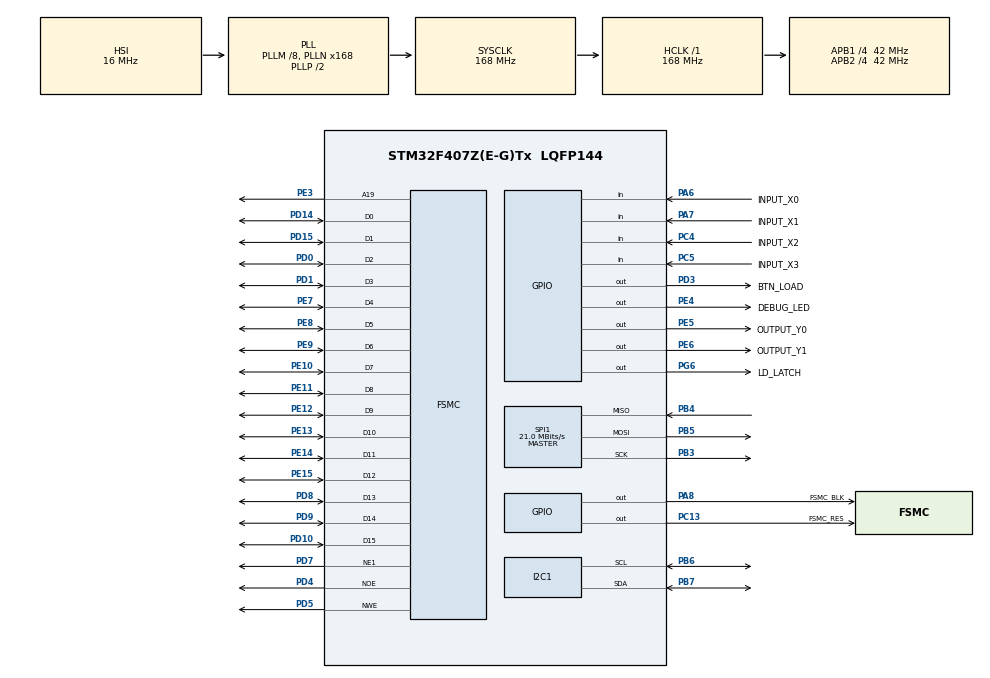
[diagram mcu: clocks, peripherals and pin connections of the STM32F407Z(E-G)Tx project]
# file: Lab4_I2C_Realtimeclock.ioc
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FSMC.AddressSetupTime1=0xf
FSMC.BusTurnAroundDuration1=0
FSMC.DataSetupTime1=60
FSMC.ExtendedAddressSetupTime1=8
FSMC.ExtendedBusTurnAroundDuration1=0
FSMC.ExtendedDataSetupTime1=9
FSMC.ExtendedMode1=FSMC_EXTENDED_MODE_ENABLE
I2C1.I2C_Mode=I2C_Standard
Mcu.Family=STM32F4
Mcu.Name=STM32F407Z(E-G)Tx
Mcu.Package=LQFP144
NVIC.PriorityGroup=NVIC_PRIORITYGROUP_4
NVIC.TIM2_IRQn=true\:0\:0\:false\:false\:true\:true\:true\:true
PA13.Mode=Serial_Wire
PA13.Signal=SYS_JTMS-SWDIO
PA14.Mode=Serial_Wire
PA14.Signal=SYS_JTCK-SWCLK
PA6.GPIO_Label=INPUT_X0
PA6.Signal=GPIO_Input
PA7.GPIO_Label=INPUT_X1
PA7.Signal=GPIO_Input
PA8.GPIO_Label=FSMC_BLK
PA8.Signal=GPIO_Output
PB3.Mode=Full_Duplex_Master
PB3.Signal=SPI1_SCK
PB4.Mode=Full_Duplex_Master
PB4.Signal=SPI1_MISO
PB5.Mode=Full_Duplex_Master
PB5.Signal=SPI1_MOSI
PB6.Mode=I2C
PB6.Signal=I2C1_SCL
PB7.Mode=I2C
PB7.Signal=I2C1_SDA
PC13-ANTI_TAMP.GPIO_Label=FSMC_RES
PC13-ANTI_TAMP.GPIO_PuPd=GPIO_PULLUP
PC13-ANTI_TAMP.Signal=GPIO_Output
PC4.GPIO_Label=INPUT_X2
PC4.Signal=GPIO_Input
PC5.GPIO_Label=INPUT_X3
PC5.Signal=GPIO_Input
PD0.Signal=FSMC_D2_DA2
PD1.Signal=FSMC_D3_DA3
PD10.Signal=FSMC_D15_DA15
PD14.Signal=FSMC_D0_DA0
PD15.Signal=FSMC_D1_DA1
PD3.GPIO_Label=BTN_LOAD
PD3.GPIO_PuPd=GPIO_PULLUP
PD3.Signal=GPIO_Output
PD4.Signal=FSMC_NOE
PD5.Signal=FSMC_NWE
PD7.Mode=NorPsramChipSelect1_1
PD7.Signal=FSMC_NE1
PD8.Signal=FSMC_D13_DA13
PD9.Signal=FSMC_D14_DA14
PE10.Signal=FSMC_D7_DA7
PE11.Signal=FSMC_D8_DA8
PE12.Signal=FSMC_D9_DA9
PE13.Signal=FSMC_D10_DA10
PE14.Signal=FSMC_D11_DA11
PE15.Signal=FSMC_D12_DA12
PE3.Signal=FSMC_A19
PE4.GPIO_Label=DEBUG_LED
PE4.GPIO_PuPd=GPIO_PULLUP
PE4.Signal=GPIO_Output
PE5.GPIO_Label=OUTPUT_Y0
PE5.GPIO_PuPd=GPIO_PULLUP
PE5.Signal=GPIO_Output
PE6.GPIO_Label=OUTPUT_Y1
PE6.GPIO_PuPd=GPIO_PULLUP
PE6.Signal=GPIO_Output
PE7.Signal=FSMC_D4_DA4
PE8.Signal=FSMC_D5_DA5
PE9.Signal=FSMC_D6_DA6
PG6.GPIO_Label=LD_LATCH
PG6.GPIO_PuPd=GPIO_PULLUP
PG6.Signal=GPIO_Output
PH0-OSC_IN.Mode=HSE-External-Oscillator
PH0-OSC_IN.Signal=RCC_OSC_IN
PH1-OSC_OUT.Mode=HSE-External-Oscillator
PH1-OSC_OUT.Signal=RCC_OSC_OUT
ProjectManager.HeapSize=0x200
ProjectManager.StackSize=0x400
ProjectManager.TargetToolchain=STM32CubeIDE
RCC.48MHZClocksFreq_Value=84000000
RCC.AHBFreq_Value=168000000
RCC.APB1CLKDivider=RCC_HCLK_DIV4
RCC.APB1Freq_Value=42000000
RCC.APB1TimFreq_Value=84000000
RCC.APB2CLKDivider=RCC_HCLK_DIV4
RCC.APB2Freq_Value=42000000
RCC.APB2TimFreq_Value=84000000
RCC.CortexFreq_Value=168000000
RCC.HCLKFreq_Value=168000000
RCC.HSE_VALUE=8000000
RCC.HSI_VALUE=16000000
RCC.LSE_VALUE=32768
RCC.PLLM=8
RCC.PLLN=168
RCC.SYSCLKFreq_VALUE=168000000
RCC.SYSCLKSource=RCC_SYSCLKSOURCE_PLLCLK
RCC.VCOOutputFreq_Value=336000000
SH.FSMC_A19.0=FSMC_A19,A19_1
SH.FSMC_D0_DA0.0=FSMC_D0,16b-d1
SH.FSMC_D10_DA10.0=FSMC_D10,16b-d1
SH.FSMC_D11_DA11.0=FSMC_D11,16b-d1
SH.FSMC_D12_DA12.0=FSMC_D12,16b-d1
SH.FSMC_D13_DA13.0=FSMC_D13,16b-d1
SH.FSMC_D14_DA14.0=FSMC_D14,16b-d1
SH.FSMC_D15_DA15.0=FSMC_D15,16b-d1
SH.FSMC_D1_DA1.0=FSMC_D1,16b-d1
SH.FSMC_D2_DA2.0=FSMC_D2,16b-d1
SH.FSMC_D3_DA3.0=FSMC_D3,16b-d1
SH.FSMC_D4_DA4.0=FSMC_D4,16b-d1
SH.FSMC_D5_DA5.0=FSMC_D5,16b-d1
SH.FSMC_D6_DA6.0=FSMC_D6,16b-d1
SH.FSMC_D7_DA7.0=FSMC_D7,16b-d1
SH.FSMC_D8_DA8.0=FSMC_D8,16b-d1
SH.FSMC_D9_DA9.0=FSMC_D9,16b-d1
SH.FSMC_NOE.0=FSMC_NOE,Lcd1
SH.FSMC_NWE.0=FSMC_NWE,Lcd1
SPI1.BaudRatePrescaler=SPI_BAUDRATEPRESCALER_2
SPI1.CalculateBaudRate=21.0 MBits/s
SPI1.Direction=SPI_DIRECTION_2LINES
SPI1.Mode=SPI_MODE_MASTER
SPI1.VirtualType=VM_MASTER
TIM2.Period=100-1
TIM2.Prescaler=840-1
VP_TIM2_VS_ClockSourceINT.Mode=Internal
board=custom

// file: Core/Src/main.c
/* USER CODE BEGIN Header */
/**
 ******************************************************************************
 * @file           : main.c
 * @brief          : Main program body
 ******************************************************************************
 * @attention
 *
 * <h2><center>&copy; Copyright (c) 2023 STMicroelectronics.
 * All rights reserved.</center></h2>
 *
 * This software component is licensed by ST under BSD 3-Clause license,
 * the "License"; You may not use this file except in compliance with the
 * License. You may obtain a copy of the License at:
 *                        opensource.org/licenses/BSD-3-Clause
 *
 ******************************************************************************
 */
/* USER CODE END Header */
#include "main.h"
#include "i2c.h"
#include "spi.h"
#include "tim.h"
#include "gpio.h"
#include "fsmc.h"

/* USER CODE BEGIN Includes */
#include "software_timer.h"
#include "led_7seg.h"
#include "button.h"
#include "lcd.h"
#include "picture.h"
#include "ds3231.h"
/* USER CODE END Includes */

/* USER CODE BEGIN PV */
uint8_t count_led_debug = 0;
// 0: time mode; 1: edit mode; 2: alarm mode
uint8_t count_sys_mode = 0;
// 0: hr; 1: min; 2: sec
// 3: day; 4: date; 5: month; 6: year
uint8_t count_edit_var = 0;

uint8_t edit_temp_hour = 0;
uint8_t edit_temp_min = 0;
uint8_t edit_temp_sec = 0;
uint8_t edit_temp_day = 2;
uint8_t edit_temp_date = 1;
uint8_t edit_temp_month = 1;
uint8_t edit_temp_year = 0;

uint8_t alarm_hour = 0;
uint8_t alarm_min = 0;
uint8_t alarm_sec = 0;
uint8_t alarm_day = 2;
uint8_t alarm_date = 1;
uint8_t alarm_month = 1;
uint8_t alarm_year = 0;
//
/* USER CODE END PV */

void SystemClock_Config(void);
/* USER CODE BEGIN PFP */
void system_init();
void test_LedDebug();
void displayTime();
void updateTime();

void time_mode();
void edit_mode();
void alarm_mode();
/* USER CODE END PFP */

int main(void)
{

  /* MCU Configuration--------------------------------------------------------*/

  /* Reset of all peripherals, Initializes the Flash interface and the Systick. */
  HAL_Init();

  /* Configure the system clock */
  SystemClock_Config();

  /* Initialize all configured peripherals */
  MX_GPIO_Init();
  MX_TIM2_Init();
  MX_SPI1_Init();
  MX_FSMC_Init();
  MX_I2C1_Init();
  /* USER CODE BEGIN 2 */
  system_init();
  /* USER CODE END 2 */

  /* Infinite loop */
  /* USER CODE BEGIN WHILE */
  lcd_Clear(BLACK);
  updateTime();
  while (1)
  {
    while (!flag_timer2)
      ;
    flag_timer2 = 0;
    button_Scan();
    switch (count_sys_mode)
    {
    case 0: // Mode 1: Time Mode
      time_mode();
      break;
    case 1: // Mode 2: Edit Mode
      edit_mode();
      break;
    case 2: // Mode 3: Alarm Mode
      alarm_mode();
      break;
    default: // Handle unexpected mode
      break;
    }

    // ds3231_ReadTime();
    // displayTime();

    /* USER CODE END WHILE */

  }
}

void SystemClock_Config(void)
{
  RCC_OscInitTypeDef RCC_OscInitStruct = {0};
  RCC_ClkInitTypeDef RCC_ClkInitStruct = {0};

  /** Configure the main internal regulator output voltage
   */
  __HAL_RCC_PWR_CLK_ENABLE();
  __HAL_PWR_VOLTAGESCALING_CONFIG(PWR_REGULATOR_VOLTAGE_SCALE1);
  /** Initializes the RCC Oscillators according to the specified parameters
   * in the RCC_OscInitTypeDef structure.
   */
  RCC_OscInitStruct.OscillatorType = RCC_OSCILLATORTYPE_HSI;
  RCC_OscInitStruct.HSIState = RCC_HSI_ON;
  RCC_OscInitStruct.HSICalibrationValue = RCC_HSICALIBRATION_DEFAULT;
  RCC_OscInitStruct.PLL.PLLState = RCC_PLL_ON;
  RCC_OscInitStruct.PLL.PLLSource = RCC_PLLSOURCE_HSI;
  RCC_OscInitStruct.PLL.PLLM = 8;
  RCC_OscInitStruct.PLL.PLLN = 168;
  RCC_OscInitStruct.PLL.PLLP = RCC_PLLP_DIV2;
  RCC_OscInitStruct.PLL.PLLQ = 4;
  if (HAL_RCC_OscConfig(&RCC_OscInitStruct) != HAL_OK)
  {
    Error_Handler();
  }
  /** Initializes the CPU, AHB and APB buses clocks
   */
  RCC_ClkInitStruct.ClockType = RCC_CLOCKTYPE_HCLK | RCC_CLOCKTYPE_SYSCLK | RCC_CLOCKTYPE_PCLK1 | RCC_CLOCKTYPE_PCLK2;
  RCC_ClkInitStruct.SYSCLKSource = RCC_SYSCLKSOURCE_PLLCLK;
  RCC_ClkInitStruct.AHBCLKDivider = RCC_SYSCLK_DIV1;
  RCC_ClkInitStruct.APB1CLKDivider = RCC_HCLK_DIV4;
  RCC_ClkInitStruct.APB2CLKDivider = RCC_HCLK_DIV4;

  if (HAL_RCC_ClockConfig(&RCC_ClkInitStruct, FLASH_LATENCY_5) != HAL_OK)
  {
    Error_Handler();
  }
}

/* USER CODE BEGIN 4 */
void system_init()
{
  HAL_GPIO_WritePin(OUTPUT_Y0_GPIO_Port, OUTPUT_Y0_Pin, 0);
  HAL_GPIO_WritePin(OUTPUT_Y1_GPIO_Port, OUTPUT_Y1_Pin, 0);
  HAL_GPIO_WritePin(DEBUG_LED_GPIO_Port, DEBUG_LED_Pin, 0);
  timer_init();
  led7_init();
  button_init();
  lcd_init();
  ds3231_init();
  setTimer2(50);
}

void test_LedDebug()
{
  count_led_debug = (count_led_debug + 1) % 20;
  if (count_led_debug == 0)
  {
    HAL_GPIO_TogglePin(DEBUG_LED_GPIO_Port, DEBUG_LED_Pin);
  }
}

void test_7seg()
{
  led7_SetDigit(0, 0, 0);
  led7_SetDigit(5, 1, 0);
  led7_SetDigit(4, 2, 0);
  led7_SetDigit(7, 3, 0);
}
void test_button()
{
  for (int i = 0; i < 16; i++)
  {
    if (button_count[i] == 1)
    {
      led7_SetDigit(i / 10, 2, 0);
      led7_SetDigit(i % 10, 3, 0);
    }
  }
}

void updateTime()
{
  ds3231_Write(ADDRESS_YEAR, 23);
  ds3231_Write(ADDRESS_MONTH, 10);
  ds3231_Write(ADDRESS_DATE, 20);
  ds3231_Write(ADDRESS_DAY, 6);
  ds3231_Write(ADDRESS_HOUR, 20);
  ds3231_Write(ADDRESS_MIN, 11);
  ds3231_Write(ADDRESS_SEC, 23);
}

uint8_t isButtonUp()
{
  if (button_count[3] == 1)
    return 1;
  else
    return 0;
}
uint8_t isButtonDown()
{
  if (button_count[7] == 1)
    return 1;
  else
    return 0;
}
void displayTime()
{
  lcd_ShowIntNum(70, 100, ds3231_hours, 2, GREEN, BLACK, 24);
  lcd_ShowIntNum(110, 100, ds3231_min, 2, GREEN, BLACK, 24);
  lcd_ShowIntNum(150, 100, ds3231_sec, 2, GREEN, BLACK, 24);
  lcd_ShowIntNum(20, 130, ds3231_day, 2, YELLOW, BLACK, 24);
  lcd_ShowIntNum(70, 130, ds3231_date, 2, YELLOW, BLACK, 24);
  lcd_ShowIntNum(110, 130, ds3231_month, 2, YELLOW, BLACK, 24);
  lcd_ShowIntNum(150, 130, ds3231_year, 2, YELLOW, BLACK, 24);
}

void check_button_change_mode()
{
  // Check button change mode
  if (button_count[0] == 1)
  {
    count_sys_mode = (count_sys_mode == 2) ? 0 : count_sys_mode + 1;
  }
}

void check_button_change_edit_var()
{
  // Check button change edit var
  if (button_count[1] == 1)
  {
    count_edit_var = (count_edit_var == 6) ? 0 : count_edit_var + 1;
  }
}

void check_button_save_edit()
{
  // Check button save edit
  if (button_count[2] == 1)
  {
    ds3231_hours = edit_temp_hour;
    ds3231_min = edit_temp_min;
    ds3231_sec = edit_temp_sec;
    ds3231_day = edit_temp_day;
    ds3231_date = edit_temp_date;
    ds3231_month = edit_temp_month;
    ds3231_year = edit_temp_year;
  }
}

void check_button_increase_edit_var(uint8_t *edit_var_value, uint8_t edit_var_index)
{
  // Check button change edit var
  if (button_count[3] == 1)
  {
    switch (edit_var_index)
    {
    case 0: // Var 1: Hour
      (*edit_var_value) = ((*edit_var_value) == 23) ? 0 : (*edit_var_value) + 1;
      break;
    case 1: // Var 2: Min
      (*edit_var_value) = ((*edit_var_value) == 59) ? 0 : (*edit_var_value) + 1;
      break;
    case 2: // Var 3: Sec
      (*edit_var_value) = ((*edit_var_value) == 59) ? 0 : (*edit_var_value) + 1;
      break;
    case 3: // Var 4: Day
      (*edit_var_value) = ((*edit_var_value) == 8) ? 2 : (*edit_var_value) + 1;
      break;
    case 4: // Var 5: Date
      (*edit_var_value) = ((*edit_var_value) == 31) ? 1 : (*edit_var_value) + 1;
      break;
    case 5: // Var 6: Month
      (*edit_var_value) = ((*edit_var_value) == 12) ? 1 : (*edit_var_value) + 1;
      break;
    case 6: // Var 7: Year
      (*edit_var_value) = ((*edit_var_value) == 99) ? 0 : (*edit_var_value) + 1;
      break;
    default: // Handle unexpected mode
      break;
    }
  }
}

void time_mode()
{
  // Read current time
  ds3231_ReadTime();
  // Display current time on LCD
  lcd_ShowIntNum(70, 100, ds3231_hours, 2, GREEN, BLACK, 24);
  lcd_ShowIntNum(110, 100, ds3231_min, 2, GREEN, BLACK, 24);
  lcd_ShowIntNum(150, 100, ds3231_sec, 2, GREEN, BLACK, 24);
  lcd_ShowIntNum(20, 130, ds3231_day, 2, YELLOW, BLACK, 24);
  lcd_ShowIntNum(70, 130, ds3231_date, 2, YELLOW, BLACK, 24);
  lcd_ShowIntNum(110, 130, ds3231_month, 2, YELLOW, BLACK, 24);
  lcd_ShowIntNum(150, 130, ds3231_year, 2, YELLOW, BLACK, 24);
  // Check button change mode
  check_button_change_mode();
  // Check if alarm condition true then execute
  check_execute_alarm();
}

void edit_mode()
{
  // int *edit_vars[] = {&edit_temp_hour, &edit_temp_min, &edit_temp_sec,
  //                     &edit_temp_day, &edit_temp_date, &edit_temp_month, &edit_temp_year};

  static int button_processed = 0; // Add a static variable to track button processing
  int *edit_vars[] = {&edit_temp_hour, &edit_temp_min, &edit_temp_sec,
                      &edit_temp_day, &edit_temp_date, &edit_temp_month, &edit_temp_year};

  if (button_count[3] == 1 && !button_processed)
  {
    check_button_increase_edit_var(edit_vars[count_edit_var], count_edit_var);
    button_processed = 1; // Set the flag to indicate that the button has been processed
  }
  else if (button_count[3] == 0)
  {
    button_processed = 0; // Reset the flag when the button is released
  }

  check_button_change_mode();
  check_button_change_edit_var();
  check_button_save_edit();
}

void check_button_save_alarm()
{
  // Check button save edit
  if (button_count[2] == 1)
  {
    alarm_hour = edit_temp_hour;
    alarm_min = edit_temp_min;
    alarm_sec = edit_temp_sec;
    alarm_day = edit_temp_day;
    alarm_date = edit_temp_date;
    alarm_month = edit_temp_month;
    alarm_year = edit_temp_year;
  }
}

void alarm_mode()
{
  int *edit_vars[] = {&edit_temp_hour, &edit_temp_min, &edit_temp_sec,
                      &edit_temp_day, &edit_temp_date, &edit_temp_month, &edit_temp_year};

  check_button_increase_edit_var(edit_vars[count_edit_var], count_edit_var);
  check_button_change_mode();
  check_button_change_edit_var();
  check_button_save_alarm();
}

void check_execute_alarm()
{
  if ((ds3231_hours == alarm_hour) && (ds3231_min == alarm_min) && (ds3231_sec == alarm_sec) && (ds3231_day == alarm_day) && (ds3231_date == alarm_date) && (ds3231_month == alarm_month) && (ds3231_year == alarm_year))
  {
    lcd_Clear(RED);
  }
}
/* USER CODE END 4 */

void Error_Handler(void)
{
  __disable_irq();
  while (1)
  {
  }
}

/************************ (C) COPYRIGHT STMicroelectronics *****END OF FILE****/
